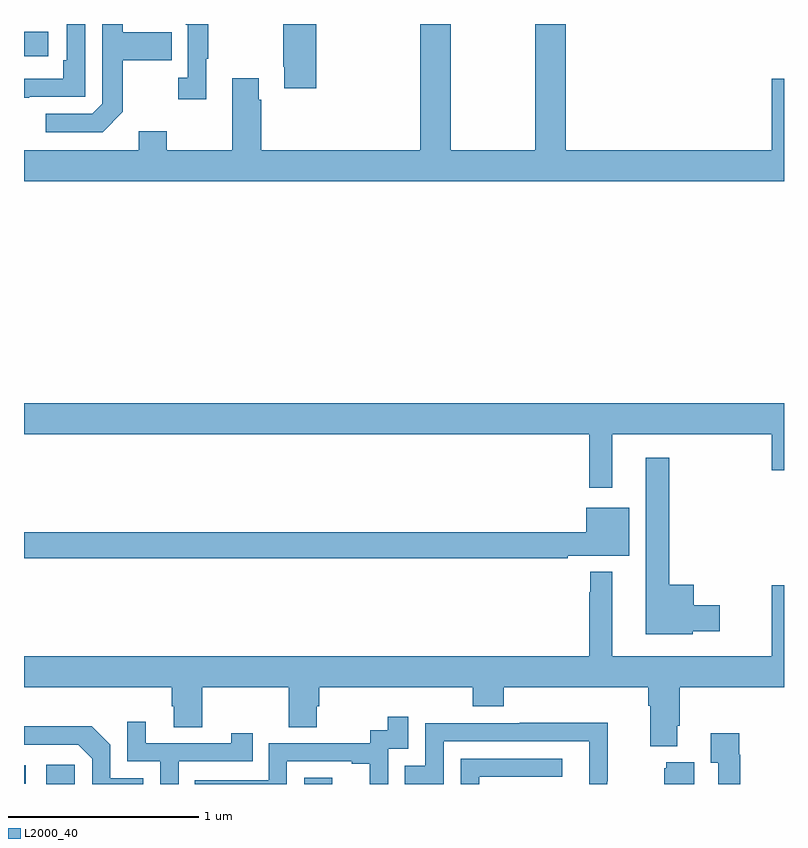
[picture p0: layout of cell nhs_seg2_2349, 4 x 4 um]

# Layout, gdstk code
import gdstk
lib = gdstk.Library(unit=1e-6, precision=1e-09)
def R(c, l, rs):  # rectangles x0, y0, x1, y1
    for r in rs: c.add(gdstk.rectangle(r[:2], r[2:], *l))
def P(c, l, *ps):  # polygons
    for p in ps: c.add(gdstk.Polygon(p, *l))
L2000_40 = (2000, 40)

nhs_seg2_2349 = lib.new_cell('nhs_seg2_2349')
R(nhs_seg2_2349, L2000_40, [(233.118,641.8,233.268,641.902), (234.474,641.8,234.622,641.833), (233,641.802,233.008,641.898), (233,645.63,233.128,645.76)])
P(nhs_seg2_2349, L2000_40, [(234.539,645.8),(234.364,645.8),(234.364,645.574),(234.371,645.574),(234.371,645.462),(234.539,645.462)],
  [(233.027,645.417),(233.322,645.417),(233.322,645.8),(233.226,645.8),(233.226,645.61),(233.206,645.61),(233.206,645.513),(233,645.513),(233,645.412),(233.027,645.412)],
  [(233.521,645.337),(233.521,645.61),(233.777,645.61),(233.777,645.757),(233.521,645.757),(233.521,645.8),(233.412,645.8),(233.412,645.381),(233.358,645.327),(233.115,645.327),(233.115,645.231),(233.415,645.231)],
  [(233.959,645.617),(233.971,645.617),(233.971,645.8),(233.85,645.8),(233.85,645.797),(233.862,645.797),(233.862,645.518),(233.811,645.518),(233.811,645.405),(233.959,645.405)],
  [(234.235,645.401),(234.235,645.514),(234.095,645.514),(234.095,645.136),(233.751,645.136),(233.751,645.235),(233.603,645.235),(233.603,645.136),(233,645.136),(233,644.972),(237,644.972),(237,645.511),(236.936,645.511),(236.936,645.136),(235.85,645.136),(235.85,645.8),(235.69,645.8),(235.69,645.136),(235.245,645.136),(235.245,645.8),(235.085,645.8),(235.085,645.136),(234.248,645.136),(234.248,645.401)],
  [(236.095,643.64),(236.936,643.64),(236.936,643.452),(237,643.452),(237,643.804),(233,643.804),(233,643.64),(235.974,643.64),(235.974,643.359),(236.095,643.359)],
  [(236.52,642.605),(236.662,642.605),(236.662,642.74),(236.524,642.74),(236.524,642.85),(236.395,642.85),(236.395,643.516),(236.273,643.516),(236.273,642.587),(236.52,642.587)],
  [(235.862,643.001),(236.185,643.001),(236.185,643.255),(235.958,643.255),(235.958,643.124),(233,643.124),(233,642.988),(235.862,642.988)],
  [(236.437,642.106),(236.45,642.106),(236.45,642.308),(237,642.308),(237,642.847),(236.936,642.847),(236.936,642.472),(236.095,642.472),(236.095,642.916),(235.98,642.916),(235.98,642.809),(235.974,642.809),(235.974,642.472),(233,642.472),(233,642.308),(233.777,642.308),(233.777,642.21),(233.789,642.21),(233.789,642.1),(233.937,642.1),(233.937,642.308),(234.394,642.308),(234.394,642.1),(234.541,642.1),(234.541,642.21),(234.554,642.21),(234.554,642.308),(235.361,642.308),(235.361,642.209),(235.526,642.209),(235.526,642.308),(236.285,642.308),(236.285,642.212),(236.297,642.212),(236.297,641.999),(236.437,641.999)],
  [(234.384,641.919),(234.725,641.919),(234.725,641.907),(234.821,641.907),(234.821,641.8),(234.918,641.8),(234.918,641.985),(235.023,641.985),(235.023,642.154),(234.915,642.154),(234.915,642.084),(234.822,642.084),(234.822,642.015),(234.288,642.015),(234.288,641.82),(233.899,641.82),(233.899,641.8),(234.384,641.8)],
  [(233.814,641.919),(234.203,641.919),(234.203,642.067),(234.092,642.067),(234.092,642.015),(233.641,642.015),(233.641,642.127),(233.544,642.127),(233.544,641.919),(233.718,641.919),(233.718,641.8),(233.814,641.8)],
  [(235.209,642.024),(235.974,642.024),(235.974,641.8),(236.07,641.8),(236.07,641.815),(236.073,641.815),(236.073,642.122),(235.609,642.122),(235.609,642.12),(235.113,642.12),(235.113,641.895),(235.003,641.895),(235.003,641.8),(235.209,641.8)],
  [(233.628,641.829),(233.454,641.829),(233.454,642.006),(233.356,642.104),(233,642.104),(233,642.006),(233.286,642.006),(233.358,641.934),(233.358,641.8),(233.628,641.8)],
  [(236.771,641.954),(236.764,641.954),(236.764,642.067),(236.615,642.067),(236.615,641.911),(236.655,641.911),(236.655,641.8),(236.771,641.8)],
  [(235.395,641.838),(235.834,641.838),(235.834,641.934),(235.299,641.934),(235.299,641.8),(235.395,641.8)],
  [(236.527,641.914),(236.381,641.914),(236.381,641.883),(236.369,641.883),(236.369,641.8),(236.527,641.8)])

lib.write_gds('nhs_seg2_2349.gds')
